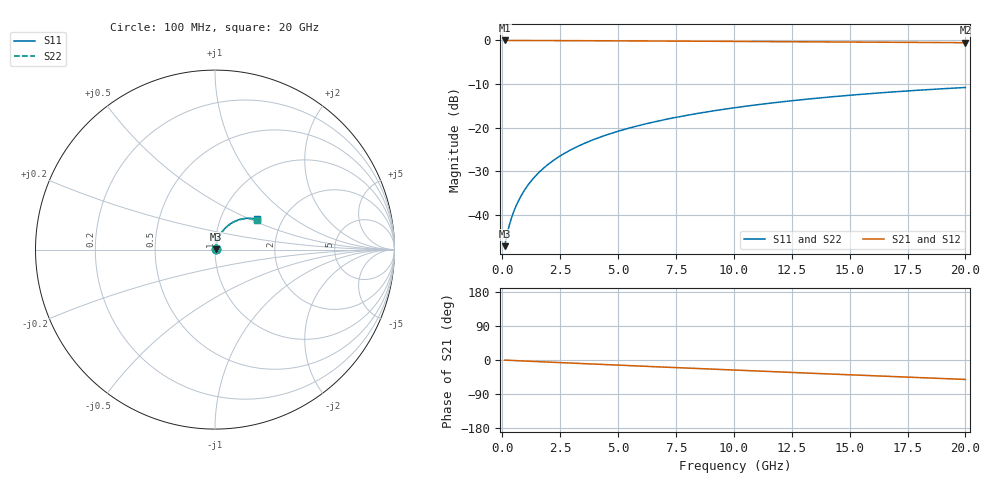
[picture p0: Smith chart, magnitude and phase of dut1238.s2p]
! Touchstone file exported from HFSS 2026.1.0
!  File:  C:/ffzhzh/LocalFiles/Ansys_Project_Files/temp_train_BSMRDL_1238_1783177099_18472.aedt
!  Generated:  10:59:38 PM Jul  4, 2026
!  Design:  BSMRDL
!  Project:  temp_train_BSMRDL_1238_1783177099_18472
! Variables:
!  h_bsmrdl = 5.03um
!  h_ox = 20um
!  h_rdl = 5um
!  h_sub = 80um
!  h_tmrdl = 5um
!  h_tsv = 80um
!  h_via = 3um
!  l_bsmrdl = 874.99um
!  l_sub = 1274.99um
!  l_tmrdl = 200um
!  m_sub = 200um
!  pitch = 29.68um
!  r_tsv = 6um
!  s_tmrdl = 10um
!  w_bsmrdl = 17.05um
!  w_sub = 500um
!  w_tmrdl = 12um
!  x_tsv_center1 = 206um
!  x_tsv_center2 = 1098.04um
!  x_tsv_center3 = 1310.04um
!  x_tsv_center4 = 2202.08um
!  x_tsv_center5 = 2414.08um
!  x_tsv_center6 = 3306.12um
# GHz S MA R 50.000000
! Terminal data exported
! Port[1] = BSM_RDL1_1_T1
! Port[2] = BSM_RDL1_1_T2
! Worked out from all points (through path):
!   200 points, 100 MHz to 20 GHz, reference 50 ohm
!   highest |S21| = -0.03 dB at 100 MHz (marker M1); lowest = -0.5 dB at 20 GHz (marker M2)
!   group delay of S21, straight-line fit = 7.1 ps
!   lowest |S11| = -47.1 dB at 100 MHz (marker M3), VSWR 1.01, Z = 50.4 + j0.227 ohm
!   |S11| at or under -10 dB: start of sweep to end of sweep
!   |S22| runs from -47.1 to -10.8 dB; largest |S21 - S12| = 2e-15
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0.1  0.004395 30.8  0.9962 -0.3  0.9962 -0.3  0.004395 30.8
! Gamma 0 0 0 0
! Port Impedance 50 0 50 0
0.2  0.005933 46.7  0.996 -0.6  0.996 -0.6  0.005933 46.7
0.3  0.007608 55.1  0.9957 -0.9  0.9957 -0.9  0.007609 55.1
0.4  0.009308 60.4  0.9955 -1.1  0.9955 -1.1  0.009308 60.4
0.5  0.01103 64.1  0.9954 -1.4  0.9954 -1.4  0.01103 64.1
0.6  0.01278 66.9  0.9953 -1.7  0.9953 -1.7  0.01278 66.9
0.8  0.01635 70.6  0.9951 -2.2  0.9951 -2.2  0.01635 70.6
1  0.01999 72.8  0.9948 -2.8  0.9948 -2.8  0.01999 72.8
1.2  0.02365 74.1  0.9946 -3.3  0.9946 -3.3  0.02365 74.1
1.4  0.02733 75.0  0.9943 -3.9  0.9943 -3.9  0.02734 74.9
1.7  0.03286 75.6  0.9939 -4.7  0.9939 -4.7  0.03286 75.5
2.2  0.04202 75.7  0.9931 -6.1  0.9931 -6.1  0.04203 75.6
2.8  0.05287 75.0  0.9918 -7.7  0.9918 -7.7  0.05288 74.9
3.5  0.06528 73.8  0.9902 -9.6  0.9902 -9.6  0.06529 73.6
4.2  0.0774 72.3  0.9885 -11.4  0.9885 -11.4  0.07741 72.2
5  0.09092 70.5  0.9864 -13.6  0.9864 -13.6  0.09093 70.4
6.8  0.1202 66.4  0.9814 -18.3  0.9814 -18.3  0.1202 66.2
8.3  0.1434 62.9  0.977 -22.2  0.977 -22.2  0.1435 62.6
10.1  0.17 58.8  0.9715 -26.8  0.9715 -26.8  0.1701 58.4
13.4  0.215 51.1  0.961 -35.1  0.961 -35.1  0.2151 50.6
16.7  0.2546 43.4  0.9502 -43.3  0.9502 -43.3  0.2547 42.8
20  0.2883 35.8  0.9398 -51.3  0.9398 -51.3  0.2884 35.1
